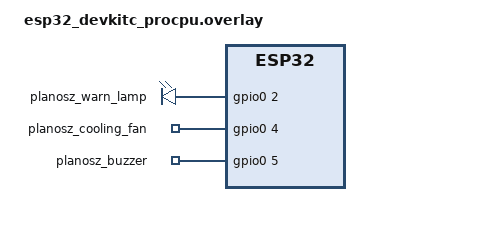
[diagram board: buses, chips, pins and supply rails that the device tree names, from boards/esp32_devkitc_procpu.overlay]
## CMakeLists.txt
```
# SPDX-License-Identifier: Apache-2.0
cmake_minimum_required(VERSION 3.20.0)

# The repository root is a Zephyr module (zephyr/module.yml); pull it in without needing
# ZEPHYR_EXTRA_MODULES on the command line.
list(APPEND ZEPHYR_EXTRA_MODULES ${CMAKE_CURRENT_LIST_DIR}/../..)

find_package(Zephyr REQUIRED HINTS $ENV{ZEPHYR_BASE})
project(planosz_node)

target_sources(app PRIVATE src/main.c src/demo_plans.c)
target_include_directories(app PRIVATE src)
```

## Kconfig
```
mainmenu "PlanOS-Z node"

config APP_AUTODEMO
	bool "Submit the bundled demo plans at boot"
	default n

config APP_EXIT_AFTER_DEMO
	bool "Exit the process after the demo (native_sim only; used by CI)"
	depends on BOARD_NATIVE_SIM

source "Kconfig.zephyr"
```

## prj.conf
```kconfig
CONFIG_PLANOSZ=y
CONFIG_PLANOSZ_SHELL=y
# Parallel DAG executor: 2 worker threads (admission uses the matching WCET bound)
CONFIG_PLANOSZ_EXECUTOR_PARALLEL=y
CONFIG_PLANOSZ_EXEC_WORKERS=2

CONFIG_SHELL=y
CONFIG_PRINTK=y
CONFIG_LOG=y
CONFIG_MAIN_STACK_SIZE=4096
# vsnprintf in the NDJSON tracer
CONFIG_CBPRINTF_COMPLETE=y

# 1 ms kernel tick: WCET budgets in the contracts assume sleeps are accurate to ~1 ms.
# (With the 10 ms default tick, k_msleep(5) takes 20 ms and real jobs blow their WCET.)
CONFIG_SYS_CLOCK_TICKS_PER_SEC=1000

# Interactive by default: use `planosz plans|admit|run|load` on the shell.
# For the non-interactive demo use: -DEXTRA_CONF_FILE=demo.conf
CONFIG_APP_AUTODEMO=n
```

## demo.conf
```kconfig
# Overlay for a clean, non-interactive demo / CI run: no shell, run the 3 demo plans, exit.
CONFIG_SHELL=n
CONFIG_PLANOSZ_SHELL=n
CONFIG_APP_AUTODEMO=y
CONFIG_APP_EXIT_AFTER_DEMO=y
```

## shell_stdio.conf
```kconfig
# Overlay: put the shell on stdin/stdout instead of a PTY (pipes, CI, containers).
#   -DEXTRA_CONF_FILE=shell_stdio.conf
CONFIG_UART_NATIVE_PTY_0_ON_STDINOUT=y
# printk is also routed into the log backend, which the stdio shell would print a second time
CONFIG_LOG_PRINTK=n
```

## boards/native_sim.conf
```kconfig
# Simulated time runs as fast as the host allows: deterministic and CI friendly.
CONFIG_NATIVE_SIM_SLOWDOWN_TO_REAL_TIME=n
# Parallel DAG executor on native_sim: 2 worker threads
CONFIG_PLANOSZ_EXECUTOR_PARALLEL=y
CONFIG_PLANOSZ_EXEC_WORKERS=2
```

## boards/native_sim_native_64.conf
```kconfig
# Same as native_sim.conf (Zephyr 4.x loads <board>_<qualifiers>.conf for native_sim/native/64).
# Simulated time runs as fast as the host allows: deterministic and CI friendly.
CONFIG_NATIVE_SIM_SLOWDOWN_TO_REAL_TIME=n
# Parallel DAG executor on native_sim: 2 worker threads
CONFIG_PLANOSZ_EXECUTOR_PARALLEL=y
CONFIG_PLANOSZ_EXEC_WORKERS=2
```

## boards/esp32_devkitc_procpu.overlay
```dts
/*
 * PlanOS-Z ESP32 wiring for actuator.pulse channels (adjust pins to your breadboard).
 * Sensors are simulated in v0.1; only these three outputs are real GPIO.
 */
#include <zephyr/dt-bindings/gpio/gpio.h>

/ {
	aliases {
		warn-lamp = &planosz_warn_lamp;
		cooling-fan = &planosz_cooling_fan;
		buzzer = &planosz_buzzer;
	};

	planosz_outputs {
		compatible = "gpio-leds";

		planosz_warn_lamp: warn_lamp {
			gpios = <&gpio0 2 GPIO_ACTIVE_HIGH>; /* on-board LED on most DevKitC clones */
		};
		planosz_cooling_fan: cooling_fan {
			gpios = <&gpio0 4 GPIO_ACTIVE_HIGH>;
		};
		planosz_buzzer: buzzer {
			gpios = <&gpio0 5 GPIO_ACTIVE_HIGH>;
		};
	};
};
```

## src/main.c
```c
/* PlanOS-Z node: registers demo plans, wires the NDJSON trace to the console and (optionally)
 * submits ACCEPT / REJECT demos at boot. Interact afterwards via `planosz ...`
 * (plans, admit, run, load begin|data|end for UART IR upload). */
#include <zephyr/kernel.h>
#include <zephyr/sys/printk.h>
#include "demo_plans.h"
#include "planosz/planosz.h"

#ifdef CONFIG_BOARD_NATIVE_SIM
#include <posix_board_if.h>
#ifdef CONFIG_SHELL
#include <zephyr/shell/shell.h>

/* `sim_exit`: lets scripted shell sessions (CI) end the simulation cleanly. */
static int cmd_sim_exit(const struct shell *sh, size_t argc, char **argv)
{
	ARG_UNUSED(sh);
	ARG_UNUSED(argc);
	ARG_UNUSED(argv);
	posix_exit(0);
	return 0;
}
SHELL_CMD_REGISTER(sim_exit, NULL, "Exit the native_sim process", cmd_sim_exit);
#endif
#endif

static void console_sink(const char *line, void *ctx)
{
	ARG_UNUSED(ctx);
	printk("%s\n", line);
}

#ifdef CONFIG_APP_AUTODEMO
static void demo(const char *label, const char *name)
{
	printk("\n== %s (plan '%s') ==\n", label, name);
	enum planosz_code rc = planosz_ingress_submit(planosz_ingress_find(name), true);

	printk("RESULT: %s\n", planosz_code_str(rc));
}
#endif

int main(void)
{
	planosz_trace_set_sink(console_sink, NULL);
	if (demo_plans_register() != 0) {
		printk("failed to register demo plans\n");
		return 0;
	}
	printk("PlanOS-Z node up: %u skills, board=%s, executor workers=%d\n",
	       (unsigned int)planosz_registry_count(), CONFIG_BOARD, PLANOSZ_EXEC_WORKERS);

#ifdef CONFIG_APP_AUTODEMO
	demo("ACCEPT: parallel sense -> branch -> report", "accept");
	demo("REJECT: deadline infeasible", "deadline");
	demo("REJECT: exclusive resource conflict", "conflict");
	demo("ACCEPT: three sensor sweeps on 2 workers (overlap)", "parallel");
	demo("REJECT: IR lies about WCET (1 ms) - device recomputes", "deadline_forged");
	demo("REJECT: IR strips resource masks - device recomputes", "conflict_forged");
#endif

#ifdef CONFIG_APP_EXIT_AFTER_DEMO
	posix_exit(0);
#endif
	return 0;
}
```

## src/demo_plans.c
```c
/* Demo plans compiled from examples/missions/ by `planoszc compile --emit c`
 * (regenerate with `make app-plans`). Embedded plans keep CI deterministic; plans can also
 * be uploaded at runtime over the shell (`planosz load ...`, slot "uploaded").
 *
 * The REJECT plans are emitted with --force so the DEVICE proves it re-rejects what the host
 * would also reject. The *_forged plans additionally carry FALSIFIED host claims (WCET = 1 ms,
 * resource masks stripped): the device must still reject them because it recomputes both
 * from its own skill table instead of trusting the IR. */
#include "demo_plans.h"
#include "plan_accept.gen.h"
#include "plan_conflict.gen.h"
#include "plan_conflict_forged.gen.h"
#include "plan_deadline.gen.h"
#include "plan_deadline_forged.gen.h"
#include "plan_parallel.gen.h"
#include "planosz/planosz.h"

int demo_plans_register(void)
{
	int rc = planosz_ingress_register("accept", &PLAN_ACCEPT);

	rc |= planosz_ingress_register("deadline", &PLAN_DEADLINE);
	rc |= planosz_ingress_register("conflict", &PLAN_CONFLICT);
	rc |= planosz_ingress_register("parallel", &PLAN_PARALLEL);
	rc |= planosz_ingress_register("deadline_forged", &PLAN_DEADLINE_FORGED);
	rc |= planosz_ingress_register("conflict_forged", &PLAN_CONFLICT_FORGED);
	return rc;
}
```

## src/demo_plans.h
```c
#ifndef DEMO_PLANS_H_
#define DEMO_PLANS_H_

int demo_plans_register(void);

#endif
```

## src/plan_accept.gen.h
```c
/* Generated by `planoszc compile --emit c` - do not edit.
 * wcet_ms / *_mask are the host's claims; the device ignores them and recomputes. */
#include "planosz/ir.h"

static const struct planosz_ir_step PLAN_ACCEPT_STEPS[] = {
	{ .id = "volt", .skill_idx = 4, .wcet_ms = 60u, .deps_mask = 0x0u, .excl_mask = 0x0u, .shared_mask = 0x5u, .mutex_mask = 0x0u, .confirm = 0, .args = { 0, 1 }, .when_step = -1, .when_op = 0, .when_value_milli = 0 },
	{ .id = "cool", .skill_idx = 4, .wcet_ms = 120u, .deps_mask = 0x0u, .excl_mask = 0x0u, .shared_mask = 0x5u, .mutex_mask = 0x0u, .confirm = 0, .args = { 1, 4 }, .when_step = -1, .when_op = 0, .when_value_milli = 0 },
	{ .id = "warn", .skill_idx = 1, .wcet_ms = 1030u, .deps_mask = 0x3u, .excl_mask = 0x2u, .shared_mask = 0x4u, .mutex_mask = 0x8u, .confirm = 0, .args = { 0, 5, 100, 100 }, .when_step = 1, .when_op = 0, .when_value_milli = 30000 },
	{ .id = "rest", .skill_idx = 3, .wcet_ms = 310u, .deps_mask = 0x3u, .excl_mask = 0x4u, .shared_mask = 0x0u, .mutex_mask = 0x4u, .confirm = 0, .args = { 300, 0 }, .when_step = 1, .when_op = 3, .when_value_milli = 30000 },
	{ .id = "report", .skill_idx = 2, .wcet_ms = 30u, .deps_mask = 0xcu, .excl_mask = 0x8u, .shared_mask = 0x0u, .mutex_mask = 0x0u, .confirm = 0, .args = { 0 }, .when_step = -1, .when_op = 0, .when_value_milli = 0 },
};

static const struct planosz_ir_plan PLAN_ACCEPT = {
	.plan_id = "demo.parallel_sense",
	.deadline_ms = 2000u,
	.perm_mask = 0x1bu,
	.n_steps = 5,
	.steps = PLAN_ACCEPT_STEPS,
};
```

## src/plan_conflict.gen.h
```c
/* Generated by `planoszc compile --emit c` - do not edit.
 * wcet_ms / *_mask are the host's claims; the device ignores them and recomputes. */
#include "planosz/ir.h"

static const struct planosz_ir_step PLAN_CONFLICT_STEPS[] = {
	{ .id = "volt", .skill_idx = 4, .wcet_ms = 60u, .deps_mask = 0x0u, .excl_mask = 0x0u, .shared_mask = 0x5u, .mutex_mask = 0x0u, .confirm = 0, .args = { 0, 1 }, .when_step = -1, .when_op = 0, .when_value_milli = 0 },
	{ .id = "lamp_a", .skill_idx = 1, .wcet_ms = 1226u, .deps_mask = 0x1u, .excl_mask = 0x2u, .shared_mask = 0x4u, .mutex_mask = 0x0u, .confirm = 0, .args = { 0, 3, 200, 200 }, .when_step = -1, .when_op = 0, .when_value_milli = 0 },
	{ .id = "lamp_b", .skill_idx = 1, .wcet_ms = 824u, .deps_mask = 0x1u, .excl_mask = 0x2u, .shared_mask = 0x4u, .mutex_mask = 0x0u, .confirm = 0, .args = { 0, 2, 200, 200 }, .when_step = -1, .when_op = 0, .when_value_milli = 0 },
};

static const struct planosz_ir_plan PLAN_CONFLICT = {
	.plan_id = "demo.resource_conflict",
	.deadline_ms = 3000u,
	.perm_mask = 0x11u,
	.n_steps = 3,
	.steps = PLAN_CONFLICT_STEPS,
};
```

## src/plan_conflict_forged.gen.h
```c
/* Generated by `planoszc compile --emit c` - do not edit.
 * wcet_ms / *_mask are the host's claims; the device ignores them and recomputes. */
#include "planosz/ir.h"

static const struct planosz_ir_step PLAN_CONFLICT_FORGED_STEPS[] = {
	{ .id = "volt", .skill_idx = 4, .wcet_ms = 60u, .deps_mask = 0x0u, .excl_mask = 0x0u, .shared_mask = 0x0u, .mutex_mask = 0x0u, .confirm = 0, .args = { 0, 1 }, .when_step = -1, .when_op = 0, .when_value_milli = 0 },
	{ .id = "lamp_a", .skill_idx = 1, .wcet_ms = 1226u, .deps_mask = 0x1u, .excl_mask = 0x0u, .shared_mask = 0x0u, .mutex_mask = 0x0u, .confirm = 0, .args = { 0, 3, 200, 200 }, .when_step = -1, .when_op = 0, .when_value_milli = 0 },
	{ .id = "lamp_b", .skill_idx = 1, .wcet_ms = 824u, .deps_mask = 0x1u, .excl_mask = 0x0u, .shared_mask = 0x0u, .mutex_mask = 0x0u, .confirm = 0, .args = { 0, 2, 200, 200 }, .when_step = -1, .when_op = 0, .when_value_milli = 0 },
};

static const struct planosz_ir_plan PLAN_CONFLICT_FORGED = {
	.plan_id = "demo.resource_conflict",
	.deadline_ms = 3000u,
	.perm_mask = 0x11u,
	.n_steps = 3,
	.steps = PLAN_CONFLICT_FORGED_STEPS,
};
```

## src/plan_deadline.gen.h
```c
/* Generated by `planoszc compile --emit c` - do not edit.
 * wcet_ms / *_mask are the host's claims; the device ignores them and recomputes. */
#include "planosz/ir.h"

static const struct planosz_ir_step PLAN_DEADLINE_STEPS[] = {
	{ .id = "volt", .skill_idx = 4, .wcet_ms = 60u, .deps_mask = 0x0u, .excl_mask = 0x0u, .shared_mask = 0x5u, .mutex_mask = 0x0u, .confirm = 0, .args = { 0, 1 }, .when_step = -1, .when_op = 0, .when_value_milli = 0 },
	{ .id = "cool", .skill_idx = 4, .wcet_ms = 120u, .deps_mask = 0x0u, .excl_mask = 0x0u, .shared_mask = 0x5u, .mutex_mask = 0x0u, .confirm = 0, .args = { 1, 4 }, .when_step = -1, .when_op = 0, .when_value_milli = 0 },
	{ .id = "warn", .skill_idx = 1, .wcet_ms = 2444u, .deps_mask = 0x3u, .excl_mask = 0x2u, .shared_mask = 0x4u, .mutex_mask = 0x8u, .confirm = 0, .args = { 0, 12, 100, 100 }, .when_step = 1, .when_op = 0, .when_value_milli = 30000 },
	{ .id = "rest", .skill_idx = 3, .wcet_ms = 310u, .deps_mask = 0x3u, .excl_mask = 0x4u, .shared_mask = 0x0u, .mutex_mask = 0x4u, .confirm = 0, .args = { 300, 0 }, .when_step = 1, .when_op = 3, .when_value_milli = 30000 },
	{ .id = "report", .skill_idx = 2, .wcet_ms = 30u, .deps_mask = 0xcu, .excl_mask = 0x8u, .shared_mask = 0x0u, .mutex_mask = 0x0u, .confirm = 0, .args = { 0 }, .when_step = -1, .when_op = 0, .when_value_milli = 0 },
};

static const struct planosz_ir_plan PLAN_DEADLINE = {
	.plan_id = "demo.deadline_reject",
	.deadline_ms = 2000u,
	.perm_mask = 0x1bu,
	.n_steps = 5,
	.steps = PLAN_DEADLINE_STEPS,
};
```

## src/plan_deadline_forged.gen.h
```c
/* Generated by `planoszc compile --emit c` - do not edit.
 * wcet_ms / *_mask are the host's claims; the device ignores them and recomputes. */
#include "planosz/ir.h"

static const struct planosz_ir_step PLAN_DEADLINE_FORGED_STEPS[] = {
	{ .id = "volt", .skill_idx = 4, .wcet_ms = 1u, .deps_mask = 0x0u, .excl_mask = 0x0u, .shared_mask = 0x5u, .mutex_mask = 0x0u, .confirm = 0, .args = { 0, 1 }, .when_step = -1, .when_op = 0, .when_value_milli = 0 },
	{ .id = "cool", .skill_idx = 4, .wcet_ms = 1u, .deps_mask = 0x0u, .excl_mask = 0x0u, .shared_mask = 0x5u, .mutex_mask = 0x0u, .confirm = 0, .args = { 1, 4 }, .when_step = -1, .when_op = 0, .when_value_milli = 0 },
	{ .id = "warn", .skill_idx = 1, .wcet_ms = 1u, .deps_mask = 0x3u, .excl_mask = 0x2u, .shared_mask = 0x4u, .mutex_mask = 0x8u, .confirm = 0, .args = { 0, 12, 100, 100 }, .when_step = 1, .when_op = 0, .when_value_milli = 30000 },
	{ .id = "rest", .skill_idx = 3, .wcet_ms = 1u, .deps_mask = 0x3u, .excl_mask = 0x4u, .shared_mask = 0x0u, .mutex_mask = 0x4u, .confirm = 0, .args = { 300, 0 }, .when_step = 1, .when_op = 3, .when_value_milli = 30000 },
	{ .id = "report", .skill_idx = 2, .wcet_ms = 1u, .deps_mask = 0xcu, .excl_mask = 0x8u, .shared_mask = 0x0u, .mutex_mask = 0x0u, .confirm = 0, .args = { 0 }, .when_step = -1, .when_op = 0, .when_value_milli = 0 },
};

static const struct planosz_ir_plan PLAN_DEADLINE_FORGED = {
	.plan_id = "demo.deadline_reject",
	.deadline_ms = 2000u,
	.perm_mask = 0x1bu,
	.n_steps = 5,
	.steps = PLAN_DEADLINE_FORGED_STEPS,
};
```

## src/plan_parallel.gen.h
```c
/* Generated by `planoszc compile --emit c` - do not edit.
 * wcet_ms / *_mask are the host's claims; the device ignores them and recomputes. */
#include "planosz/ir.h"

static const struct planosz_ir_step PLAN_PARALLEL_STEPS[] = {
	{ .id = "volt", .skill_idx = 4, .wcet_ms = 200u, .deps_mask = 0x0u, .excl_mask = 0x0u, .shared_mask = 0x3u, .mutex_mask = 0x0u, .confirm = 0, .args = { 0, 8 }, .when_step = -1, .when_op = 0, .when_value_milli = 0 },
	{ .id = "cool", .skill_idx = 4, .wcet_ms = 200u, .deps_mask = 0x0u, .excl_mask = 0x0u, .shared_mask = 0x3u, .mutex_mask = 0x0u, .confirm = 0, .args = { 1, 8 }, .when_step = -1, .when_op = 0, .when_value_milli = 0 },
	{ .id = "cell", .skill_idx = 4, .wcet_ms = 200u, .deps_mask = 0x0u, .excl_mask = 0x0u, .shared_mask = 0x3u, .mutex_mask = 0x0u, .confirm = 0, .args = { 2, 8 }, .when_step = -1, .when_op = 0, .when_value_milli = 0 },
	{ .id = "report", .skill_idx = 2, .wcet_ms = 30u, .deps_mask = 0x7u, .excl_mask = 0x4u, .shared_mask = 0x0u, .mutex_mask = 0x0u, .confirm = 0, .args = { 0 }, .when_step = -1, .when_op = 0, .when_value_milli = 0 },
};

static const struct planosz_ir_plan PLAN_PARALLEL = {
	.plan_id = "demo.parallel_overlap",
	.deadline_ms = 500u,
	.perm_mask = 0x12u,
	.n_steps = 4,
	.steps = PLAN_PARALLEL_STEPS,
};
```
